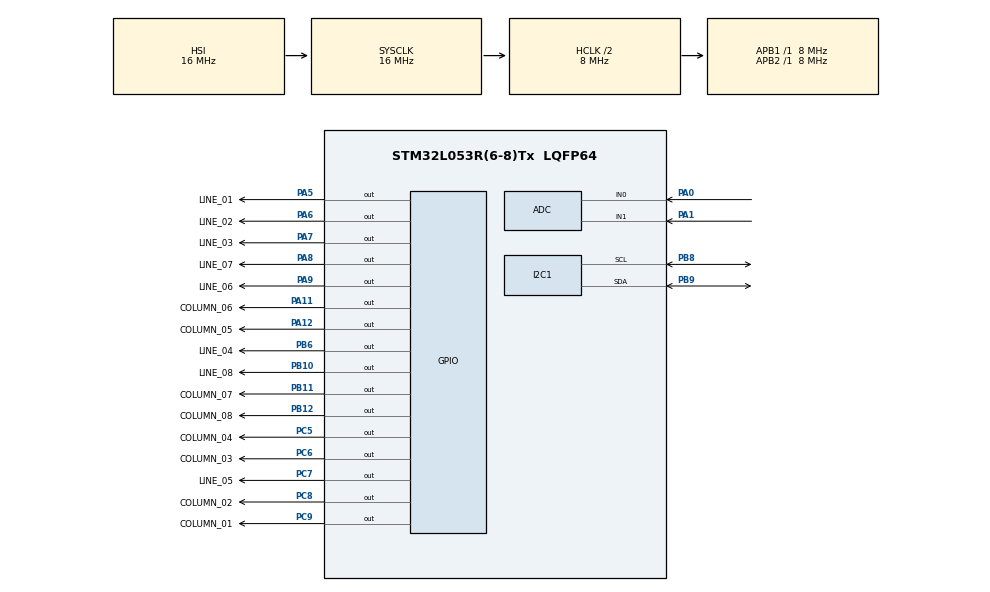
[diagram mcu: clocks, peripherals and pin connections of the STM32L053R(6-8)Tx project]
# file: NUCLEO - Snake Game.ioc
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ADC.ContinuousConvMode=ENABLE
ADC.SamplingTime=ADC_SAMPLETIME_160CYCLES_5
I2C1.Timing=0x00201D2B
Mcu.Family=STM32L0
Mcu.Name=STM32L053R(6-8)Tx
Mcu.Package=LQFP64
PA0.Mode=IN0
PA0.Signal=ADC_IN0
PA1.Mode=IN1
PA1.Signal=ADC_IN1
PA11.GPIO_Label=COLUMN_06
PA11.Signal=GPIO_Output
PA12.GPIO_Label=COLUMN_05
PA12.Signal=GPIO_Output
PA5.GPIO_Label=LINE_01
PA5.Signal=GPIO_Output
PA6.GPIO_Label=LINE_02
PA6.Signal=GPIO_Output
PA7.GPIO_Label=LINE_03
PA7.Signal=GPIO_Output
PA8.GPIO_Label=LINE_07
PA8.Signal=GPIO_Output
PA9.GPIO_Label=LINE_06
PA9.Signal=GPIO_Output
PB10.GPIO_Label=LINE_08
PB10.Signal=GPIO_Output
PB11.GPIO_Label=COLUMN_07
PB11.Signal=GPIO_Output
PB12.GPIO_Label=COLUMN_08
PB12.Signal=GPIO_Output
PB6.GPIO_Label=LINE_04
PB6.Signal=GPIO_Output
PB8.Mode=I2C
PB8.Signal=I2C1_SCL
PB9.Mode=I2C
PB9.Signal=I2C1_SDA
PC5.GPIO_Label=COLUMN_04
PC5.Signal=GPIO_Output
PC6.GPIO_Label=COLUMN_03
PC6.Signal=GPIO_Output
PC7.GPIO_Label=LINE_05
PC7.Signal=GPIO_Output
PC8.GPIO_Label=COLUMN_02
PC8.Signal=GPIO_Output
PC9.GPIO_Label=COLUMN_01
PC9.Signal=GPIO_Output
ProjectManager.HeapSize=0x200
ProjectManager.StackSize=0x400
ProjectManager.TargetToolchain=STM32CubeIDE
RCC.AHBCLKDivider=RCC_SYSCLK_DIV2
RCC.AHBFreq_Value=8000000
RCC.APB1Freq_Value=8000000
RCC.APB1TimFreq_Value=8000000
RCC.APB2Freq_Value=8000000
RCC.APB2TimFreq_Value=8000000
RCC.HCLKFreq_Value=8000000
RCC.HSE_VALUE=8000000
RCC.HSI16_VALUE=16000000
RCC.HSI48_VALUE=48000000
RCC.HSI_VALUE=16000000
RCC.MSI_VALUE=2097000
RCC.SYSCLKFreq_VALUE=16000000
RCC.SYSCLKSource=RCC_SYSCLKSOURCE_HSI
RCC.VCOOutputFreq_Value=48000000
board=NUCLEO-L053R8

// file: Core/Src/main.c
/* USER CODE BEGIN Header */
/**
  ******************************************************************************
  * @file           : main.c
  * @brief          : Main program body
  ******************************************************************************
  * @attention
  *
  * Copyright (c) 2025 STMicroelectronics.
  * All rights reserved.
  *
  * This software is licensed under terms that can be found in the LICENSE file
  * in the root directory of this software component.
  * If no LICENSE file comes with this software, it is provided AS-IS.
  *
  ******************************************************************************
  */
/* USER CODE END Header */
#include "main.h"

ADC_HandleTypeDef hadc;

I2C_HandleTypeDef hi2c1;

void SystemClock_Config(void);
static void MX_GPIO_Init(void);
static void MX_ADC_Init(void);
static void MX_I2C1_Init(void);
/* USER CODE BEGIN PFP */
typedef struct{

};
/* USER CODE END PFP */

int main(void)
{

  /* MCU Configuration--------------------------------------------------------*/

  /* Reset of all peripherals, Initializes the Flash interface and the Systick. */
  HAL_Init();

  /* Configure the system clock */
  SystemClock_Config();

  /* Initialize all configured peripherals */
  MX_GPIO_Init();
  MX_ADC_Init();
  MX_I2C1_Init();
  /* USER CODE BEGIN 2 */

  uint8_t line;
  uint8_t select = 1;

  for(int i = 0; i < 8; i++){
	  select = i;

	  switch(select){
	  	  case 1: line = 0x01; break;
	  	  case 2: line = 0x02; break;
	  	  case 3: line = 0x04; break;
	  	  case 4: line = 0x08; break;
	  	  case 5: line = 0x10; break;
	  	  case 6: line = 0x20; break;
	  	  case 7: line = 0x40; break;
	  	  case 8: line = 0x80; break;
	  }

	  HAL_GPIO_WritePin(LINE_01_GPIO_Port, LINE_01_Pin, 1);
	  HAL_GPIO_WritePin(LINE_02_GPIO_Port, LINE_02_Pin, 1);
	  HAL_GPIO_WritePin(LINE_03_GPIO_Port, LINE_03_Pin, 1);
	  HAL_GPIO_WritePin(LINE_04_GPIO_Port, LINE_04_Pin, (line >> 3 & 1));
	  HAL_GPIO_WritePin(LINE_05_GPIO_Port, LINE_05_Pin, (line >> 4 & 1));
	  HAL_GPIO_WritePin(LINE_06_GPIO_Port, LINE_06_Pin, (line >> 5 & 1));
	  HAL_GPIO_WritePin(LINE_07_GPIO_Port, LINE_07_Pin, (line >> 6 & 1));
	  HAL_GPIO_WritePin(LINE_08_GPIO_Port, LINE_08_Pin, (line >> 7 & 1));

	  HAL_GPIO_WritePin(COLUMN_01_GPIO_Port, COLUMN_01_Pin, 0);
	  HAL_GPIO_WritePin(COLUMN_02_GPIO_Port, COLUMN_02_Pin, 0);
	  HAL_GPIO_WritePin(COLUMN_03_GPIO_Port, COLUMN_03_Pin, 0);
	  HAL_GPIO_WritePin(COLUMN_04_GPIO_Port, COLUMN_04_Pin, 0);
	  HAL_GPIO_WritePin(COLUMN_05_GPIO_Port, COLUMN_05_Pin, 0);
	  HAL_GPIO_WritePin(COLUMN_06_GPIO_Port, COLUMN_06_Pin, 0);
	  HAL_GPIO_WritePin(COLUMN_07_GPIO_Port, COLUMN_07_Pin, 0);
	  HAL_GPIO_WritePin(COLUMN_08_GPIO_Port, COLUMN_08_Pin, 0);

	  HAL_Delay(100);
  }

  /* USER CODE END 2 */

  /* Infinite loop */
  while (1)
  {

  }
}

void SystemClock_Config(void)
{
  RCC_OscInitTypeDef RCC_OscInitStruct = {0};
  RCC_ClkInitTypeDef RCC_ClkInitStruct = {0};
  RCC_PeriphCLKInitTypeDef PeriphClkInit = {0};

  /** Configure the main internal regulator output voltage
  */
  __HAL_PWR_VOLTAGESCALING_CONFIG(PWR_REGULATOR_VOLTAGE_SCALE1);

  /** Initializes the RCC Oscillators according to the specified parameters
  * in the RCC_OscInitTypeDef structure.
  */
  RCC_OscInitStruct.OscillatorType = RCC_OSCILLATORTYPE_HSI;
  RCC_OscInitStruct.HSIState = RCC_HSI_ON;
  RCC_OscInitStruct.HSICalibrationValue = RCC_HSICALIBRATION_DEFAULT;
  RCC_OscInitStruct.PLL.PLLState = RCC_PLL_NONE;
  if (HAL_RCC_OscConfig(&RCC_OscInitStruct) != HAL_OK)
  {
    Error_Handler();
  }

  /** Initializes the CPU, AHB and APB buses clocks
  */
  RCC_ClkInitStruct.ClockType = RCC_CLOCKTYPE_HCLK|RCC_CLOCKTYPE_SYSCLK
                              |RCC_CLOCKTYPE_PCLK1|RCC_CLOCKTYPE_PCLK2;
  RCC_ClkInitStruct.SYSCLKSource = RCC_SYSCLKSOURCE_HSI;
  RCC_ClkInitStruct.AHBCLKDivider = RCC_SYSCLK_DIV2;
  RCC_ClkInitStruct.APB1CLKDivider = RCC_HCLK_DIV1;
  RCC_ClkInitStruct.APB2CLKDivider = RCC_HCLK_DIV1;

  if (HAL_RCC_ClockConfig(&RCC_ClkInitStruct, FLASH_LATENCY_0) != HAL_OK)
  {
    Error_Handler();
  }
  PeriphClkInit.PeriphClockSelection = RCC_PERIPHCLK_I2C1;
  PeriphClkInit.I2c1ClockSelection = RCC_I2C1CLKSOURCE_PCLK1;
  if (HAL_RCCEx_PeriphCLKConfig(&PeriphClkInit) != HAL_OK)
  {
    Error_Handler();
  }
}

static void MX_ADC_Init(void)
{

  ADC_ChannelConfTypeDef sConfig = {0};

  /** Configure the global features of the ADC (Clock, Resolution, Data Alignment and number of conversion)
  */
  hadc.Instance = ADC1;
  hadc.Init.OversamplingMode = DISABLE;
  hadc.Init.ClockPrescaler = ADC_CLOCK_SYNC_PCLK_DIV2;
  hadc.Init.Resolution = ADC_RESOLUTION_12B;
  hadc.Init.SamplingTime = ADC_SAMPLETIME_160CYCLES_5;
  hadc.Init.ScanConvMode = ADC_SCAN_DIRECTION_FORWARD;
  hadc.Init.DataAlign = ADC_DATAALIGN_RIGHT;
  hadc.Init.ContinuousConvMode = ENABLE;
  hadc.Init.DiscontinuousConvMode = DISABLE;
  hadc.Init.ExternalTrigConvEdge = ADC_EXTERNALTRIGCONVEDGE_NONE;
  hadc.Init.ExternalTrigConv = ADC_SOFTWARE_START;
  hadc.Init.DMAContinuousRequests = DISABLE;
  hadc.Init.EOCSelection = ADC_EOC_SINGLE_CONV;
  hadc.Init.Overrun = ADC_OVR_DATA_PRESERVED;
  hadc.Init.LowPowerAutoWait = DISABLE;
  hadc.Init.LowPowerFrequencyMode = DISABLE;
  hadc.Init.LowPowerAutoPowerOff = DISABLE;
  if (HAL_ADC_Init(&hadc) != HAL_OK)
  {
    Error_Handler();
  }

  /** Configure for the selected ADC regular channel to be converted.
  */
  sConfig.Channel = ADC_CHANNEL_0;
  sConfig.Rank = ADC_RANK_CHANNEL_NUMBER;
  if (HAL_ADC_ConfigChannel(&hadc, &sConfig) != HAL_OK)
  {
    Error_Handler();
  }

  /** Configure for the selected ADC regular channel to be converted.
  */
  sConfig.Channel = ADC_CHANNEL_1;
  if (HAL_ADC_ConfigChannel(&hadc, &sConfig) != HAL_OK)
  {
    Error_Handler();
  }

}

static void MX_I2C1_Init(void)
{

  hi2c1.Instance = I2C1;
  hi2c1.Init.Timing = 0x00201D2B;
  hi2c1.Init.OwnAddress1 = 0;
  hi2c1.Init.AddressingMode = I2C_ADDRESSINGMODE_7BIT;
  hi2c1.Init.DualAddressMode = I2C_DUALADDRESS_DISABLE;
  hi2c1.Init.OwnAddress2 = 0;
  hi2c1.Init.OwnAddress2Masks = I2C_OA2_NOMASK;
  hi2c1.Init.GeneralCallMode = I2C_GENERALCALL_DISABLE;
  hi2c1.Init.NoStretchMode = I2C_NOSTRETCH_DISABLE;
  if (HAL_I2C_Init(&hi2c1) != HAL_OK)
  {
    Error_Handler();
  }

  /** Configure Analogue filter
  */
  if (HAL_I2CEx_ConfigAnalogFilter(&hi2c1, I2C_ANALOGFILTER_ENABLE) != HAL_OK)
  {
    Error_Handler();
  }

  /** Configure Digital filter
  */
  if (HAL_I2CEx_ConfigDigitalFilter(&hi2c1, 0) != HAL_OK)
  {
    Error_Handler();
  }

}

static void MX_GPIO_Init(void)
{
  GPIO_InitTypeDef GPIO_InitStruct = {0};

  /* GPIO Ports Clock Enable */
  __HAL_RCC_GPIOA_CLK_ENABLE();
  __HAL_RCC_GPIOC_CLK_ENABLE();
  __HAL_RCC_GPIOB_CLK_ENABLE();

  /*Configure GPIO pin Output Level */
  HAL_GPIO_WritePin(GPIOA, LINE_01_Pin|LINE_02_Pin|LINE_03_Pin|LINE_07_Pin
                          |LINE_06_Pin|COLUMN_06_Pin|COLUMN_05_Pin, GPIO_PIN_RESET);

  /*Configure GPIO pin Output Level */
  HAL_GPIO_WritePin(GPIOC, COLUMN_04_Pin|COLUMN_03_Pin|LINE_05_Pin|COLUMN_02_Pin
                          |COLUMN_01_Pin, GPIO_PIN_RESET);

  /*Configure GPIO pin Output Level */
  HAL_GPIO_WritePin(GPIOB, LINE_08_Pin|COLUMN_07_Pin|COLUMN_08_Pin|LINE_04_Pin, GPIO_PIN_RESET);

  /*Configure GPIO pins : LINE_01_Pin LINE_02_Pin LINE_03_Pin LINE_07_Pin
                           LINE_06_Pin COLUMN_06_Pin COLUMN_05_Pin */
  GPIO_InitStruct.Pin = LINE_01_Pin|LINE_02_Pin|LINE_03_Pin|LINE_07_Pin
                          |LINE_06_Pin|COLUMN_06_Pin|COLUMN_05_Pin;
  GPIO_InitStruct.Mode = GPIO_MODE_OUTPUT_PP;
  GPIO_InitStruct.Pull = GPIO_NOPULL;
  GPIO_InitStruct.Speed = GPIO_SPEED_FREQ_LOW;
  HAL_GPIO_Init(GPIOA, &GPIO_InitStruct);

  /*Configure GPIO pins : COLUMN_04_Pin COLUMN_03_Pin LINE_05_Pin COLUMN_02_Pin
                           COLUMN_01_Pin */
  GPIO_InitStruct.Pin = COLUMN_04_Pin|COLUMN_03_Pin|LINE_05_Pin|COLUMN_02_Pin
                          |COLUMN_01_Pin;
  GPIO_InitStruct.Mode = GPIO_MODE_OUTPUT_PP;
  GPIO_InitStruct.Pull = GPIO_NOPULL;
  GPIO_InitStruct.Speed = GPIO_SPEED_FREQ_LOW;
  HAL_GPIO_Init(GPIOC, &GPIO_InitStruct);

  /*Configure GPIO pins : LINE_08_Pin COLUMN_07_Pin COLUMN_08_Pin LINE_04_Pin */
  GPIO_InitStruct.Pin = LINE_08_Pin|COLUMN_07_Pin|COLUMN_08_Pin|LINE_04_Pin;
  GPIO_InitStruct.Mode = GPIO_MODE_OUTPUT_PP;
  GPIO_InitStruct.Pull = GPIO_NOPULL;
  GPIO_InitStruct.Speed = GPIO_SPEED_FREQ_LOW;
  HAL_GPIO_Init(GPIOB, &GPIO_InitStruct);

}

void Error_Handler(void)
{
  __disable_irq();
  while (1)
  {
  }
}
